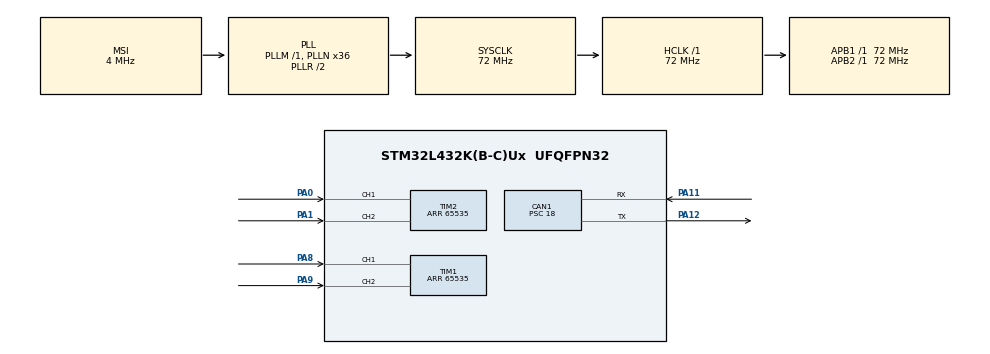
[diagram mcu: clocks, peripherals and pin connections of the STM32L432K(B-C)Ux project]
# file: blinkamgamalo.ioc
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CAN1.BS1=CAN_BS1_3TQ
CAN1.BS2=CAN_BS2_4TQ
CAN1.CalculateBaudRate=500000
CAN1.CalculateTimeBit=2000
CAN1.CalculateTimeQuantum=250.0
CAN1.NART=ENABLE
CAN1.Prescaler=18
Mcu.Family=STM32L4
Mcu.Name=STM32L432K(B-C)Ux
Mcu.Package=UFQFPN32
NVIC.PriorityGroup=NVIC_PRIORITYGROUP_4
NVIC.TIM7_IRQn=true\:0\:0\:false\:false\:true\:true\:true\:true
PA0.Signal=S_TIM2_CH1
PA1.Signal=S_TIM2_CH2
PA11.Mode=CAN_Activate
PA11.Signal=CAN1_RX
PA12.Mode=CAN_Activate
PA12.Signal=CAN1_TX
PA13\ (JTMS-SWDIO).GPIO_Label=SWDIO
PA13\ (JTMS-SWDIO).Mode=Serial_Wire
PA13\ (JTMS-SWDIO).Signal=SYS_JTMS-SWDIO
PA14\ (JTCK-SWCLK).GPIO_Label=SWCLK
PA14\ (JTCK-SWCLK).Mode=Serial_Wire
PA14\ (JTCK-SWCLK).Signal=SYS_JTCK-SWCLK
PA8.Signal=S_TIM1_CH1
PA9.Signal=S_TIM1_CH2
PC14-OSC32_IN\ (PC14).Mode=LSE-External-Oscillator
PC14-OSC32_IN\ (PC14).Signal=RCC_OSC32_IN
PC15-OSC32_OUT\ (PC15).Mode=LSE-External-Oscillator
PC15-OSC32_OUT\ (PC15).Signal=RCC_OSC32_OUT
ProjectManager.HeapSize=0x200
ProjectManager.StackSize=0x400
ProjectManager.TargetToolchain=STM32CubeIDE
RCC.ADCFreq_Value=16000000
RCC.AHBFreq_Value=72000000
RCC.APB1Freq_Value=72000000
RCC.APB1TimFreq_Value=72000000
RCC.APB2Freq_Value=72000000
RCC.APB2TimFreq_Value=72000000
RCC.CortexFreq_Value=72000000
RCC.HCLKFreq_Value=72000000
RCC.HSE_VALUE=8000000
RCC.HSI16_VALUE=16000000
RCC.HSI48_VALUE=48000000
RCC.HSI_VALUE=16000000
RCC.MSI_VALUE=4000000
RCC.PLLMUL=RCC_PLLMUL_4
RCC.PLLN=36
RCC.SYSCLKFreq_VALUE=72000000
RCC.SYSCLKSource=RCC_SYSCLKSOURCE_PLLCLK
RCC.USBFreq_Value=16000000
RCC.VCOOutputFreq_Value=144000000
SH.S_TIM1_CH1.0=TIM1_CH1,Encoder_Interface
SH.S_TIM1_CH2.0=TIM1_CH2,Encoder_Interface
SH.S_TIM2_CH1.0=TIM2_CH1,Encoder_Interface
SH.S_TIM2_CH2.0=TIM2_CH2,Encoder_Interface
TIM1.AutoReloadPreload=TIM_AUTORELOAD_PRELOAD_ENABLE
TIM1.EncoderMode=TIM_ENCODERMODE_TI12
TIM1.IC1Filter=10
TIM1.IC2Filter=0
TIM1.Period=65535
TIM2.AutoReloadPreload=TIM_AUTORELOAD_PRELOAD_ENABLE
TIM2.EncoderMode=TIM_ENCODERMODE_TI12
TIM2.IC1Filter=10
TIM2.IC1Polarity=TIM_ICPOLARITY_RISING
TIM2.IC2Polarity=TIM_ICPOLARITY_RISING
TIM2.Period=65535
TIM7.AutoReloadPreload=TIM_AUTORELOAD_PRELOAD_ENABLE
TIM7.Period=1000
TIM7.Prescaler=7200
VP_TIM7_VS_ClockSourceINT.Mode=Enable_Timer
board=NUCLEO-L432KC

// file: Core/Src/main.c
/* USER CODE BEGIN Header */
/**
  ******************************************************************************
  * @file           : main.c
  * @brief          : Main program body
  ******************************************************************************
  * @attention
  *
  * Copyright (c) 2023 STMicroelectronics.
  * All rights reserved.
  *
  * This software is licensed under terms that can be found in the LICENSE file
  * in the root directory of this software component.
  * If no LICENSE file comes with this software, it is provided AS-IS.
  *
  ******************************************************************************
  */
/* USER CODE END Header */
#include "main.h"

/* USER CODE BEGIN Includes */
#include <stdio.h>
#include <stdlib.h>
#include <math.h>
#include <string.h>
/* USER CODE END Includes */

/* USER CODE BEGIN PD */
#define TRUE 1
#define FALSE 0
//#define PI 3.14159
/* USER CODE END PD */

CAN_HandleTypeDef hcan1;

TIM_HandleTypeDef htim1;
TIM_HandleTypeDef htim2;
TIM_HandleTypeDef htim7;

/* USER CODE BEGIN PV */
static volatile int16_t enc1_new = 0, enc2_new = 0;

static volatile int8_t first_time = TRUE;
static volatile int32_t enc1_old = 0, enc2_old = 0, enc1 = 0, enc2 = 0;
static volatile int32_t sum_enc1 = 0, sum_enc2 = 0;

const float inc = 20480.0;
const float poluprecnik_tocka = 35.72; //nova je 35, 35.75 je na starom
const float polurastojanje_ose_tockova = 152.53; //ukupno rastojanje = 310mm, probna je 152.53 od starog

const float inc_R = (inc * polurastojanje_ose_tockova)/ poluprecnik_tocka;
const float inc_deg = 360.0 / inc_R;//inkremenata po stepenu
const float inc_mm = (2.0 * poluprecnik_tocka * M_PI)/inc; //mm po inkrementu

static volatile float d=0.0; //predjeni put u instanci vremena
static volatile float g=0.0; //ugao u instanci vremena
static volatile float f=0.0; //ukupan ugao

static volatile float rad=0.0;
static volatile float dx=0.0; //promena x
static volatile float dy=0.0; //promena y

static volatile float x=0.0;
static volatile float y=0.0;

static volatile int32_t curr_sum_left = 0;
static volatile int32_t curr_sum_right = 0;

static volatile int32_t enc_left = 0;
static volatile int32_t enc_right = 0;

static volatile int32_t prev_sum_left = 0;
static volatile int32_t prev_sum_right = 0;

CAN_FilterTypeDef canfilterconfig;

CAN_TxHeaderTypeDef TxHeader;
CAN_TxHeaderTypeDef TxHeader2;

float TxData[2];
float TxData2[2];

uint32_t TxMailbox;
/* USER CODE END PV */

void SystemClock_Config(void);
static void MX_GPIO_Init(void);
static void MX_TIM7_Init(void);
static void MX_TIM1_Init(void);
static void MX_TIM2_Init(void);
static void MX_CAN1_Init(void);

int main(void)
{

  /* MCU Configuration--------------------------------------------------------*/

  /* Reset of all peripherals, Initializes the Flash interface and the Systick. */
  HAL_Init();

  /* Configure the system clock */
  SystemClock_Config();

  /* Initialize all configured peripherals */
  MX_GPIO_Init();
  MX_TIM7_Init();
  MX_TIM1_Init();
  MX_TIM2_Init();
  MX_CAN1_Init();
  /* USER CODE BEGIN 2 */

  HAL_TIM_Encoder_Start(&htim1, TIM_CHANNEL_ALL);
  HAL_TIM_Encoder_Start(&htim2, TIM_CHANNEL_ALL);

  TIM1->CNT = 0;
  TIM2->CNT = 0;

  // Prva poruka sa x i y
  TxHeader.StdId = 0x100;
  TxHeader.IDE = CAN_ID_STD;
  TxHeader.RTR = CAN_RTR_DATA;
  TxHeader.DLC = 8;

  // Druga poruka sa f i d
  TxHeader2.StdId = 0x101;
  TxHeader2.IDE = CAN_ID_STD;
  TxHeader2.RTR = CAN_RTR_DATA;
  TxHeader2.DLC = 8;

  canfilterconfig.FilterActivation = CAN_FILTER_ENABLE;
  canfilterconfig.FilterBank = 18;  // which filter bank to use from the assigned ones
  canfilterconfig.FilterFIFOAssignment = CAN_FILTER_FIFO0;
  canfilterconfig.FilterIdHigh = 0x446<<5;
  canfilterconfig.FilterIdLow = 0;
  canfilterconfig.FilterMaskIdHigh = 0x446<<5;
  canfilterconfig.FilterMaskIdLow = 0x0000;
  canfilterconfig.FilterMode = CAN_FILTERMODE_IDMASK;
  canfilterconfig.FilterScale = CAN_FILTERSCALE_32BIT;
  canfilterconfig.SlaveStartFilterBank = 20;  // how many filters to assign to the CAN1 (master can)

  HAL_TIM_Base_Start_IT(&htim7);
  HAL_CAN_Start(&hcan1);

  // Handshake poruka na startup-u
  uint8_t startupMsg[2] = {0x69, 0x69};
  CAN_TxHeaderTypeDef startupHeader;

  startupHeader.StdId = 0x69;
  startupHeader.IDE = CAN_ID_STD;
  startupHeader.RTR = CAN_RTR_DATA;
  startupHeader.DLC = 2;

  HAL_CAN_AddTxMessage(&hcan1, &startupHeader, startupMsg, &TxMailbox);

  /* USER CODE END 2 */

  /* Infinite loop */
  while (1)
  {

  }
}

void SystemClock_Config(void)
{
  RCC_OscInitTypeDef RCC_OscInitStruct = {0};
  RCC_ClkInitTypeDef RCC_ClkInitStruct = {0};

  /** Configure the main internal regulator output voltage
  */
  if (HAL_PWREx_ControlVoltageScaling(PWR_REGULATOR_VOLTAGE_SCALE1) != HAL_OK)
  {
    Error_Handler();
  }

  /** Configure LSE Drive Capability
  */
  HAL_PWR_EnableBkUpAccess();
  __HAL_RCC_LSEDRIVE_CONFIG(RCC_LSEDRIVE_LOW);

  /** Initializes the RCC Oscillators according to the specified parameters
  * in the RCC_OscInitTypeDef structure.
  */
  RCC_OscInitStruct.OscillatorType = RCC_OSCILLATORTYPE_LSE|RCC_OSCILLATORTYPE_MSI;
  RCC_OscInitStruct.LSEState = RCC_LSE_ON;
  RCC_OscInitStruct.MSIState = RCC_MSI_ON;
  RCC_OscInitStruct.MSICalibrationValue = 0;
  RCC_OscInitStruct.MSIClockRange = RCC_MSIRANGE_6;
  RCC_OscInitStruct.PLL.PLLState = RCC_PLL_ON;
  RCC_OscInitStruct.PLL.PLLSource = RCC_PLLSOURCE_MSI;
  RCC_OscInitStruct.PLL.PLLM = 1;
  RCC_OscInitStruct.PLL.PLLN = 36;
  RCC_OscInitStruct.PLL.PLLP = RCC_PLLP_DIV7;
  RCC_OscInitStruct.PLL.PLLQ = RCC_PLLQ_DIV2;
  RCC_OscInitStruct.PLL.PLLR = RCC_PLLR_DIV2;
  if (HAL_RCC_OscConfig(&RCC_OscInitStruct) != HAL_OK)
  {
    Error_Handler();
  }

  /** Initializes the CPU, AHB and APB buses clocks
  */
  RCC_ClkInitStruct.ClockType = RCC_CLOCKTYPE_HCLK|RCC_CLOCKTYPE_SYSCLK
                              |RCC_CLOCKTYPE_PCLK1|RCC_CLOCKTYPE_PCLK2;
  RCC_ClkInitStruct.SYSCLKSource = RCC_SYSCLKSOURCE_PLLCLK;
  RCC_ClkInitStruct.AHBCLKDivider = RCC_SYSCLK_DIV1;
  RCC_ClkInitStruct.APB1CLKDivider = RCC_HCLK_DIV1;
  RCC_ClkInitStruct.APB2CLKDivider = RCC_HCLK_DIV1;

  if (HAL_RCC_ClockConfig(&RCC_ClkInitStruct, FLASH_LATENCY_4) != HAL_OK)
  {
    Error_Handler();
  }

  /** Enable MSI Auto calibration
  */
  HAL_RCCEx_EnableMSIPLLMode();
}

static void MX_CAN1_Init(void)
{

  hcan1.Instance = CAN1;
  hcan1.Init.Prescaler = 18;
  hcan1.Init.Mode = CAN_MODE_NORMAL;
  hcan1.Init.SyncJumpWidth = CAN_SJW_1TQ;
  hcan1.Init.TimeSeg1 = CAN_BS1_3TQ;
  hcan1.Init.TimeSeg2 = CAN_BS2_4TQ;
  hcan1.Init.TimeTriggeredMode = DISABLE;
  hcan1.Init.AutoBusOff = DISABLE;
  hcan1.Init.AutoWakeUp = DISABLE;
  hcan1.Init.AutoRetransmission = ENABLE;
  hcan1.Init.ReceiveFifoLocked = DISABLE;
  hcan1.Init.TransmitFifoPriority = DISABLE;
  if (HAL_CAN_Init(&hcan1) != HAL_OK)
  {
    Error_Handler();
  }

}

static void MX_TIM1_Init(void)
{

  TIM_Encoder_InitTypeDef sConfig = {0};
  TIM_MasterConfigTypeDef sMasterConfig = {0};

  htim1.Instance = TIM1;
  htim1.Init.Prescaler = 0;
  htim1.Init.CounterMode = TIM_COUNTERMODE_UP;
  htim1.Init.Period = 65535;
  htim1.Init.ClockDivision = TIM_CLOCKDIVISION_DIV1;
  htim1.Init.RepetitionCounter = 0;
  htim1.Init.AutoReloadPreload = TIM_AUTORELOAD_PRELOAD_ENABLE;
  sConfig.EncoderMode = TIM_ENCODERMODE_TI12;
  sConfig.IC1Polarity = TIM_ICPOLARITY_RISING;
  sConfig.IC1Selection = TIM_ICSELECTION_DIRECTTI;
  sConfig.IC1Prescaler = TIM_ICPSC_DIV1;
  sConfig.IC1Filter = 10;
  sConfig.IC2Polarity = TIM_ICPOLARITY_RISING;
  sConfig.IC2Selection = TIM_ICSELECTION_DIRECTTI;
  sConfig.IC2Prescaler = TIM_ICPSC_DIV1;
  sConfig.IC2Filter = 0;
  if (HAL_TIM_Encoder_Init(&htim1, &sConfig) != HAL_OK)
  {
    Error_Handler();
  }
  sMasterConfig.MasterOutputTrigger = TIM_TRGO_RESET;
  sMasterConfig.MasterOutputTrigger2 = TIM_TRGO2_RESET;
  sMasterConfig.MasterSlaveMode = TIM_MASTERSLAVEMODE_DISABLE;
  if (HAL_TIMEx_MasterConfigSynchronization(&htim1, &sMasterConfig) != HAL_OK)
  {
    Error_Handler();
  }

}

static void MX_TIM2_Init(void)
{

  TIM_Encoder_InitTypeDef sConfig = {0};
  TIM_MasterConfigTypeDef sMasterConfig = {0};

  htim2.Instance = TIM2;
  htim2.Init.Prescaler = 0;
  htim2.Init.CounterMode = TIM_COUNTERMODE_UP;
  htim2.Init.Period = 65535;
  htim2.Init.ClockDivision = TIM_CLOCKDIVISION_DIV1;
  htim2.Init.AutoReloadPreload = TIM_AUTORELOAD_PRELOAD_ENABLE;
  sConfig.EncoderMode = TIM_ENCODERMODE_TI12;
  sConfig.IC1Polarity = TIM_ICPOLARITY_RISING;
  sConfig.IC1Selection = TIM_ICSELECTION_DIRECTTI;
  sConfig.IC1Prescaler = TIM_ICPSC_DIV1;
  sConfig.IC1Filter = 10;
  sConfig.IC2Polarity = TIM_ICPOLARITY_RISING;
  sConfig.IC2Selection = TIM_ICSELECTION_DIRECTTI;
  sConfig.IC2Prescaler = TIM_ICPSC_DIV1;
  sConfig.IC2Filter = 0;
  if (HAL_TIM_Encoder_Init(&htim2, &sConfig) != HAL_OK)
  {
    Error_Handler();
  }
  sMasterConfig.MasterOutputTrigger = TIM_TRGO_RESET;
  sMasterConfig.MasterSlaveMode = TIM_MASTERSLAVEMODE_DISABLE;
  if (HAL_TIMEx_MasterConfigSynchronization(&htim2, &sMasterConfig) != HAL_OK)
  {
    Error_Handler();
  }

}

static void MX_TIM7_Init(void)
{

  TIM_MasterConfigTypeDef sMasterConfig = {0};

  htim7.Instance = TIM7;
  htim7.Init.Prescaler = 7199;
  htim7.Init.CounterMode = TIM_COUNTERMODE_UP;
  htim7.Init.Period = 9;
  htim7.Init.AutoReloadPreload = TIM_AUTORELOAD_PRELOAD_ENABLE;
  if (HAL_TIM_Base_Init(&htim7) != HAL_OK)
  {
    Error_Handler();
  }
  sMasterConfig.MasterOutputTrigger = TIM_TRGO_RESET;
  sMasterConfig.MasterSlaveMode = TIM_MASTERSLAVEMODE_DISABLE;
  if (HAL_TIMEx_MasterConfigSynchronization(&htim7, &sMasterConfig) != HAL_OK)
  {
    Error_Handler();
  }

}

static void MX_GPIO_Init(void)
{

  /* GPIO Ports Clock Enable */
  __HAL_RCC_GPIOC_CLK_ENABLE();
  __HAL_RCC_GPIOA_CLK_ENABLE();

}

/* USER CODE BEGIN 4 */
void HAL_TIM_PeriodElapsedCallback(TIM_HandleTypeDef* htim)
{
	//TIM1 LEFT, TIM2 RIGHT
	enc1_new = TIM1->CNT;
	enc2_new = TIM2->CNT;

	if(first_time) {
		enc1_old = enc1_new;
		enc2_old = enc2_new;
		first_time = FALSE;
	}

	enc1 = enc1_new - enc1_old;
	enc1 *= (-1);
	enc2 = enc2_new - enc2_old;

	enc1_old = enc1_new;
	enc2_old = enc2_new;

	if(enc1 > 32767)
		enc1 -= 65535;
	else if(enc1 < -32767)
		enc1 += 65535;

	if(enc2 > 32767)
		enc2 -= 65535;
	else if(enc2 < -32767)
		enc2 += 65535;

	//

	sum_enc1 += enc1;
	sum_enc2 += enc2;

	curr_sum_left = sum_enc1;
	curr_sum_right = sum_enc2;

	enc_left = curr_sum_left - prev_sum_left;
	enc_right = curr_sum_right - prev_sum_right;

	prev_sum_left = curr_sum_left;
	prev_sum_right = curr_sum_right;

	//predjeni put u instanci vremena(trenutni) enc1 - LEFT, enc2 - RIGHT
	d = ((enc_left + enc_right)/2.0)*inc_mm;

	//ugao u instanci vremena
	g = ((enc_right - enc_left)/2.0)*inc_deg;

	//ukupan ugao
	f += g;

	//racunanje trenutnog ugla??

	/*if (f<0) {
		f = abs(f);
		f = fmod(f, 360.0);
		f = -f;
	}
	else
	{
		f = fmod(f, 360.0);
		//f = (int)f % 360;
	}*/

	rad = ((90.0-f)*M_PI)/180.0;

	//promena(diferencijal) x i y koordinate
	dx = -d *  cos(rad - (((g/2.0)*M_PI)/180.0));
	dy = d * sin(rad - (((g/2.0)*M_PI)/180.0));

	//trenutne koordinate posle vremena
	x += dx;
	y += dy;

	f = fmod(f, 360.0);    ///chatGPT solucija??
	if (f < -180.0) f += 360.0;
	else if (f > 180.0) f -= 360.0;

	// Priprema prve poruke za slanje
	TxData[0] = x;
	TxData[1] = y;

	// Priprema druge poruke za slanje
	TxData2[0] = f;
	TxData2[1] = d;

	// Slanje prve poruke
	HAL_CAN_AddTxMessage(&hcan1, &TxHeader, &TxData, &TxMailbox);

	// Slanje druge poruke
	HAL_CAN_AddTxMessage(&hcan1, &TxHeader2, &TxData2, &TxMailbox);
}
/* USER CODE END 4 */

void Error_Handler(void)
{
  __disable_irq();
  while (1)
  {
  }
}
